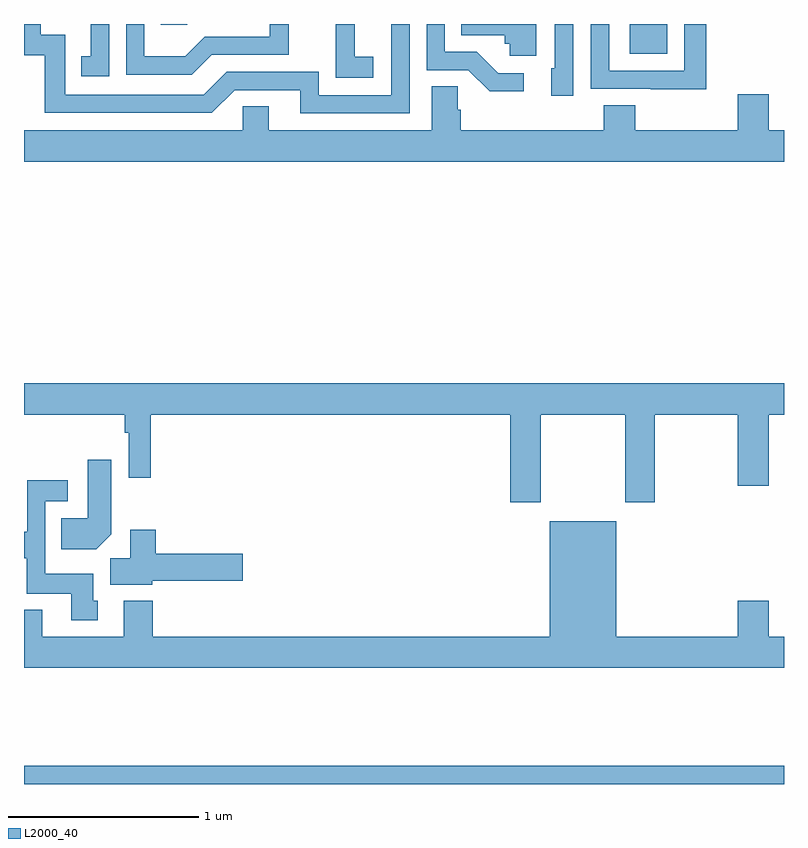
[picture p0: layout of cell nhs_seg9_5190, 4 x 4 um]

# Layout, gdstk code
import gdstk
lib = gdstk.Library(unit=1e-6, precision=1e-09)
def R(c, l, rs):  # rectangles x0, y0, x1, y1
    for r in rs: c.add(gdstk.rectangle(r[:2], r[2:], *l))
def P(c, l, *ps):  # polygons
    for p in ps: c.add(gdstk.Polygon(p, *l))
L2000_40 = (2000, 40)

nhs_seg9_5190 = lib.new_cell('nhs_seg9_5190')
R(nhs_seg9_5190, L2000_40, [(413,1170.5,417,1170.596), (416.189,1174.343,416.386,1174.5), (413.719,1174.497,413.859,1174.5)])
P(nhs_seg9_5190, L2000_40, [(414.838,1174.327),(414.74,1174.327),(414.74,1174.5),(414.641,1174.5),(414.641,1174.423),(414.64,1174.423),(414.64,1174.217),(414.838,1174.217)],
  [(413.448,1174.5),(413.351,1174.5),(413.351,1174.329),(413.302,1174.329),(413.302,1174.224),(413.448,1174.224)],
  [(415.696,1174.5),(415.3,1174.5),(415.3,1174.442),(415.531,1174.442),(415.531,1174.395),(415.557,1174.395),(415.557,1174.334),(415.696,1174.334)],
  [(415.63,1174.242),(415.495,1174.242),(415.384,1174.353),(415.215,1174.353),(415.215,1174.5),(415.119,1174.5),(415.119,1174.257),(415.338,1174.257),(415.451,1174.145),(415.63,1174.145)],
  [(416.591,1174.5),(416.475,1174.5),(416.475,1174.254),(416.079,1174.254),(416.079,1174.5),(415.983,1174.5),(415.983,1174.158),(416.299,1174.158),(416.299,1174.157),(416.591,1174.157)],
  [(415.89,1174.5),(415.794,1174.5),(415.794,1174.266),(415.775,1174.266),(415.775,1174.122),(415.89,1174.122)],
  [(415.029,1174.5),(414.933,1174.5),(414.933,1174.125),(414.552,1174.125),(414.552,1174.248),(414.066,1174.248),(413.946,1174.128),(413.217,1174.128),(413.217,1174.443),(413.088,1174.443),(413.088,1174.5),(413,1174.5),(413,1174.335),(413.109,1174.335),(413.109,1174.032),(413.988,1174.032),(414.108,1174.152),(414.455,1174.152),(414.455,1174.029),(415.029,1174.029)],
  [(413.989,1174.338),(414.393,1174.338),(414.393,1174.5),(414.294,1174.5),(414.294,1174.434),(413.952,1174.434),(413.848,1174.33),(413.634,1174.33),(413.634,1174.5),(413.538,1174.5),(413.538,1174.233),(413.884,1174.233)],
  [(417,1173.94),(416.92,1173.94),(416.92,1174.129),(416.756,1174.129),(416.756,1173.94),(416.216,1173.94),(416.216,1174.073),(416.051,1174.073),(416.051,1173.94),(415.298,1173.94),(415.298,1174.049),(415.284,1174.049),(415.284,1174.172),(415.145,1174.172),(415.145,1173.94),(414.289,1173.94),(414.289,1174.067),(414.15,1174.067),(414.15,1173.94),(413,1173.94),(413,1173.776),(417,1173.776)],
  [(415.719,1172.444),(416.164,1172.444),(416.164,1171.983),(416.319,1171.983),(416.319,1172.444),(416.756,1172.444),(416.756,1172.07),(416.92,1172.07),(416.92,1172.444),(417,1172.444),(417,1172.608),(413,1172.608),(413,1172.444),(413.53,1172.444),(413.53,1172.348),(413.55,1172.348),(413.55,1172.112),(413.666,1172.112),(413.666,1172.444),(415.559,1172.444),(415.559,1171.983),(415.719,1171.983)],
  [(413.458,1171.814),(413.458,1172.206),(413.336,1172.206),(413.336,1171.9),(413.197,1171.9),(413.197,1171.736),(413.38,1171.736)],
  [(413.389,1171.464),(413.365,1171.464),(413.365,1171.606),(413.112,1171.606),(413.112,1171.989),(413.23,1171.989),(413.23,1172.098),(413.016,1172.098),(413.016,1171.828),(413,1171.828),(413,1171.688),(413.014,1171.688),(413.014,1171.502),(413.249,1171.502),(413.249,1171.362),(413.389,1171.362)],
  [(417,1171.276),(416.92,1171.276),(416.92,1171.465),(416.756,1171.465),(416.756,1171.276),(416.116,1171.276),(416.116,1171.882),(415.766,1171.882),(415.766,1171.276),(413.678,1171.276),(413.678,1171.465),(413.525,1171.465),(413.525,1171.276),(413.095,1171.276),(413.095,1171.417),(413,1171.417),(413,1171.112),(417,1171.112)],
  [(413.676,1171.57),(414.151,1171.57),(414.151,1171.712),(413.693,1171.712),(413.693,1171.837),(413.558,1171.837),(413.558,1171.688),(413.453,1171.688),(413.453,1171.55),(413.676,1171.55)])

lib.write_gds('nhs_seg9_5190.gds')
